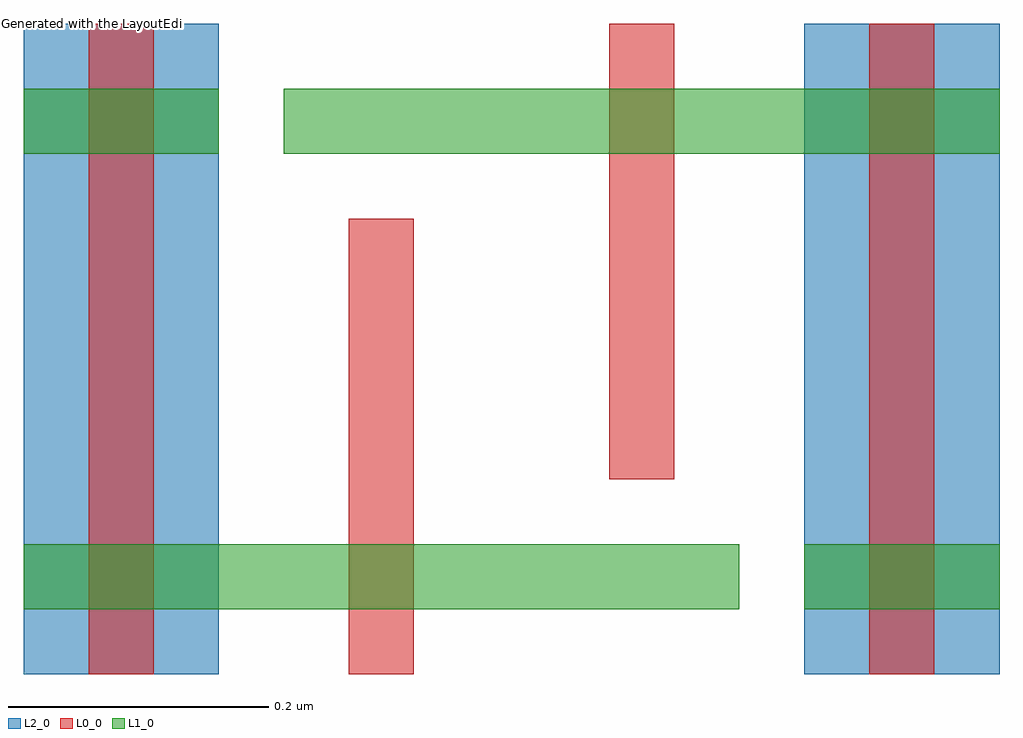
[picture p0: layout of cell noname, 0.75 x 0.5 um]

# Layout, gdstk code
import gdstk
lib = gdstk.Library(unit=1e-6, precision=1e-09)
def R(c, l, rs):  # rectangles x0, y0, x1, y1
    for r in rs: c.add(gdstk.rectangle(r[:2], r[2:], *l))
L0_0 = (0, 0)
L1_0 = (1, 0)
L2_0 = (2, 0)

noname = lib.new_cell('noname')
R(noname, L0_0, [(0,0,0.05,0.5), (0.2,0,0.25,0.35), (0.6,0,0.65,0.5), (0.4,0.15,0.45,0.5)])
R(noname, L1_0, [(-0.05,0.05,0.5,0.1), (0.55,0.05,0.7,0.1), (-0.05,0.4,0.1,0.45), (0.15,0.4,0.7,0.45)])
R(noname, L2_0, [(-0.05,0,0.1,0.5), (0.55,0,0.7,0.5)])
noname.add(gdstk.Label('Generated with the LayoutEditor (This message will NOT added in any commercial version of the LayoutEditor.)', (-0.05,0.5), layer=2, texttype=13476))

lib.write_gds('noname.gds')
